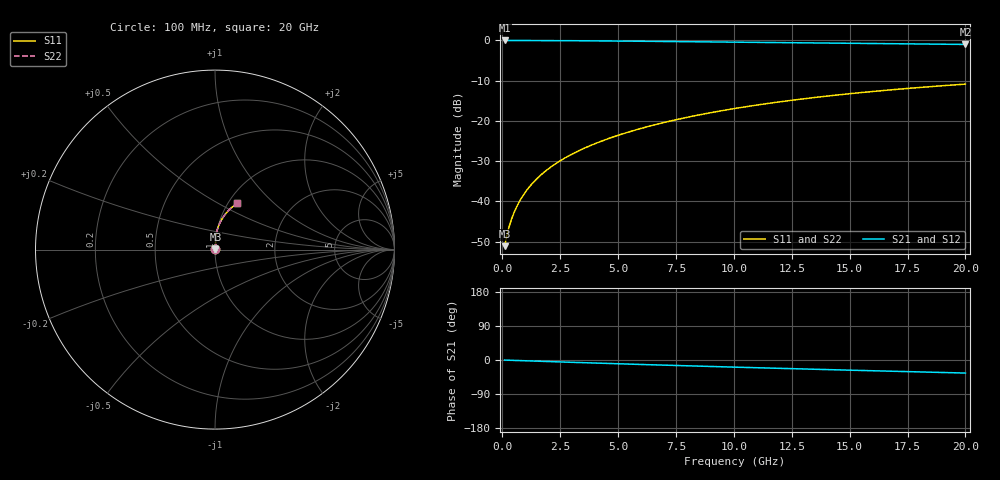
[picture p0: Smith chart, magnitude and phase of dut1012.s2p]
! Touchstone file exported from HFSS 2024.1.0
!  File:  C:/UserFiles/LocalFiles/RDL_TSV_Batchsim/temp_RDL_top_1012_1780042869.aedt
!  Generated:  04:23:19 PM May 29, 2026
!  Design:  RDL_top
!  Project:  temp_RDL_top_1012_1780042869
!  Setup:  Setup1
!  Solution:  Sweep
! Variables:
!  dtsv = 10.80580581um
!  hbump = 3um
!  htsv = 63.91um
!  ldown = 100um
!  lrdl = 523.63um
!  p = 40
!  p1 = 42.54um
!  rhole = 1um
!  t = 450um
!  tdown = 3.915915916um
!  trdl = 3.84um
!  wdown = 15.38538539um
!  wrdl = 22.36um
# GHz S MA R 50.000000
! Terminal data exported
! Port[1] = Box2_T1
! Port[2] = Box2_T2
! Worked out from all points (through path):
!   200 points, 100 MHz to 20 GHz, reference 50 ohm
!   highest |S21| = -0.02 dB at 100 MHz (marker M1); lowest = -1.0 dB at 20 GHz (marker M2)
!   group delay of S21, straight-line fit = 4.73 ps
!   lowest |S11| = -51.1 dB at 100 MHz (marker M3), VSWR 1.01, Z = 50.2 + j0.147 ohm
!   |S11| at or under -10 dB: start of sweep to end of sweep
!   |S22| runs from -51.1 to -10.9 dB; largest |S21 - S12| = 2e-15
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0.1  0.002777 31.8  0.9976 -0.2  0.9976 -0.2  0.002777 31.8
! Gamma 0 0 0 0
! Port Impedance 50 0 50 0
0.2  0.003785 48.6  0.9975 -0.4  0.9975 -0.4  0.003785 48.6
0.3  0.004904 57.3  0.9973 -0.6  0.9973 -0.6  0.004904 57.3
0.4  0.006036 62.8  0.9971 -0.8  0.9971 -0.8  0.006036 62.8
0.5  0.007177 66.7  0.997 -1.1  0.997 -1.1  0.007177 66.7
0.6  0.008329 69.7  0.9968 -1.3  0.9968 -1.3  0.008329 69.7
0.8  0.01067 73.9  0.9965 -1.7  0.9965 -1.7  0.01067 73.9
1.1  0.01428 77.9  0.996 -2.3  0.996 -2.3  0.01428 77.9
1.3  0.01672 79.7  0.9957 -2.7  0.9957 -2.7  0.01672 79.6
1.6  0.02045 81.5  0.995 -3.3  0.995 -3.3  0.02045 81.5
2.1  0.02677 83.5  0.9937 -4.3  0.9937 -4.3  0.02677 83.5
2.7  0.03454 84.9  0.9917 -5.5  0.9917 -5.5  0.03454 84.8
3.5  0.0452 85.8  0.9884 -7.1  0.9884 -7.1  0.0452 85.7
4.2  0.05483 86.0  0.9851 -8.4  0.9851 -8.4  0.05482 86.0
5  0.06615 86.0  0.9809 -10.0  0.9809 -10.0  0.06614 85.9
6.8  0.09269 84.8  0.9706 -13.3  0.9706 -13.3  0.09266 84.7
8.4  0.1171 82.9  0.9608 -16.1  0.9608 -16.1  0.1171 82.9
10.1  0.1434 80.5  0.9503 -19.0  0.9503 -19.0  0.1434 80.4
11.7  0.1681 77.9  0.9405 -21.6  0.9405 -21.6  0.168 77.9
13.4  0.1939 75.1  0.9301 -24.3  0.9301 -24.3  0.1938 75.1
16.7  0.2418 69.6  0.9101 -29.5  0.9101 -29.5  0.2417 69.5
20  0.2861 64.1  0.8903 -34.5  0.8903 -34.5  0.286 64.1
